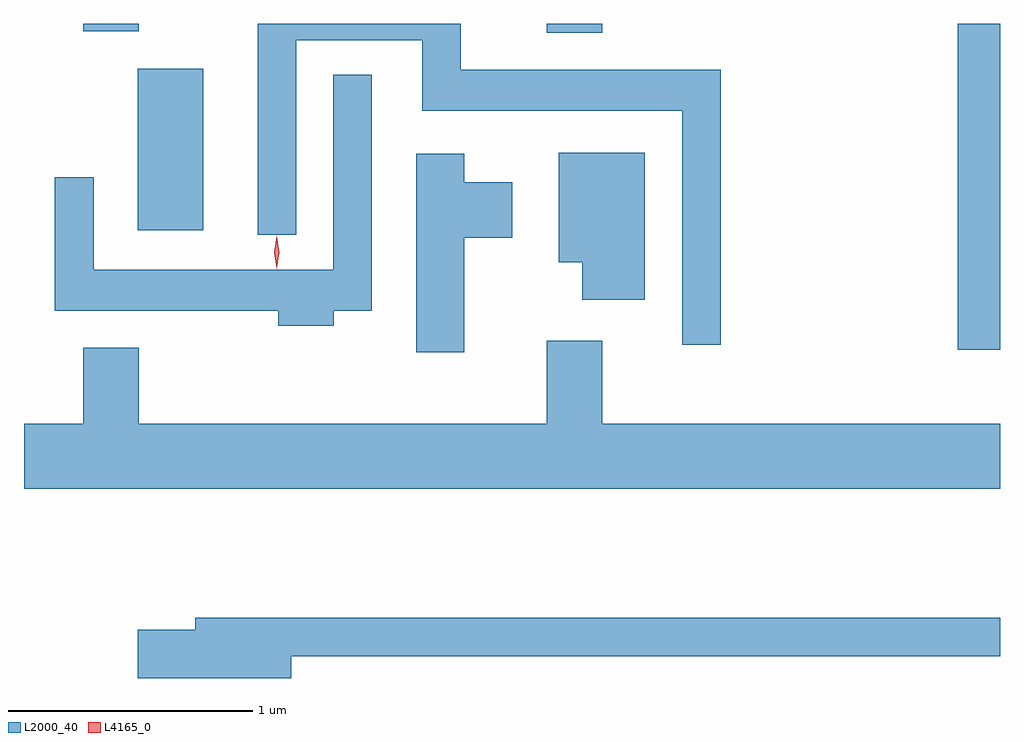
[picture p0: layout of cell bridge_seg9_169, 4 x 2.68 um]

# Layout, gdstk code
import gdstk
lib = gdstk.Library(unit=1e-6, precision=1e-09)
def R(c, l, rs):  # rectangles x0, y0, x1, y1
    for r in rs: c.add(gdstk.rectangle(r[:2], r[2:], *l))
def P(c, l, *ps):  # polygons
    for p in ps: c.add(gdstk.Polygon(p, *l))
L2000_40 = (2000, 40)
L4165_0 = (4165, 0)

bridge_seg9_169 = lib.new_cell('bridge_seg9_169')
R(bridge_seg9_169, L2000_40, [(1420.756,2081.186,1420.929,2082.522), (1417.396,2081.676,1417.664,2082.339), (1419.071,2082.486,1419.299,2082.522), (1417.171,2082.491,1417.399,2082.522)])
P(bridge_seg9_169, L2000_40, [(1419.784,2082.334),(1418.719,2082.334),(1418.719,2082.522),(1417.886,2082.522),(1417.886,2081.658),(1418.044,2081.658),(1418.044,2082.456),(1418.561,2082.456),(1418.561,2082.166),(1419.626,2082.166),(1419.626,2081.208),(1419.784,2081.208)],
  [(1418.199,2081.346),(1418.354,2081.346),(1418.354,2082.313),(1418.196,2082.313),(1418.196,2081.514),(1417.214,2081.514),(1417.214,2081.893),(1417.056,2081.893),(1417.056,2081.346),(1417.971,2081.346),(1417.971,2081.286),(1418.199,2081.286)],
  [(1419.474,2081.994),(1419.121,2081.994),(1419.121,2081.546),(1419.216,2081.546),(1419.216,2081.391),(1419.474,2081.391)],
  [(1418.734,2081.646),(1418.929,2081.646),(1418.929,2081.874),(1418.734,2081.874),(1418.734,2081.989),(1418.536,2081.989),(1418.536,2081.176),(1418.734,2081.176)],
  [(1420.929,2080.884),(1419.299,2080.884),(1419.299,2081.224),(1419.071,2081.224),(1419.071,2080.884),(1417.399,2080.884),(1417.399,2081.194),(1417.171,2081.194),(1417.171,2080.884),(1416.929,2080.884),(1416.929,2080.616),(1420.929,2080.616)],
  [(1418.024,2079.931),(1420.929,2079.931),(1420.929,2080.089),(1417.631,2080.089),(1417.631,2080.039),(1417.396,2080.039),(1417.396,2079.841),(1418.024,2079.841)])
P(bridge_seg9_169, L4165_0, [(1417.965,2081.519),(1417.964,2081.52),(1417.955,2081.586),(1417.964,2081.652),(1417.965,2081.653),(1417.965,2081.652),(1417.975,2081.586),(1417.965,2081.52)])

lib.write_gds('bridge_seg9_169.gds')
